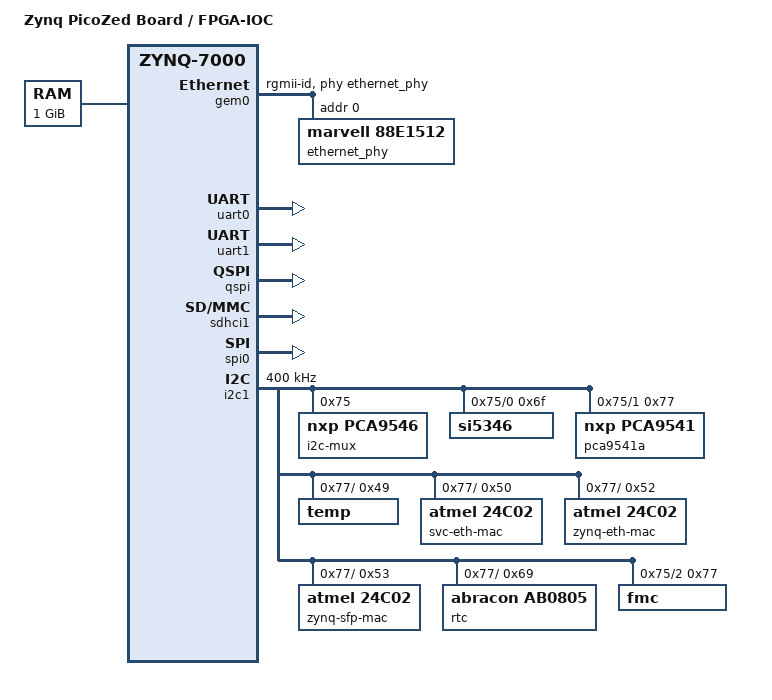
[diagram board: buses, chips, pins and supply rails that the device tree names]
/*
 * Avnet PicoZed board DTS
 * Modified for FPGA-IOC
 *
 * Copyright (C) 2015 Xilinx, Inc.
 *
 * SPDX-License-Identifier: GPL-2.0+
 */
/dts-v1/;
#include "zynq-7000.dtsi"

/ {
    model = "Zynq PicoZed Board / FPGA-IOC";
    compatible = "xlnx,zynq-picozed", "xlnx,zynq-7000";

    aliases {
        serial0 = &uart0;
        ethernet0 = &gem0;
        spi0 = &qspi;
        spi1 = &spi0;
        mmc0 = &sdhci1;
    };

    memory@0 {
        device_type = "memory";
        reg = <0 0x40000000>;
    };

    chosen {
        bootargs = "earlycon";
        stdout-path = "serial0:115200n8";
    };
};

&gem0 {
    status = "okay";
    phy-mode = "rgmii-id";
    phy-handle = <&ethernet_phy>;

    ethernet_phy: ethernet-phy@0 {
        compatible = "marvell,88e1512";
        device_type = "ethernet-phy";
        reg = <0>;
    };
};

&uart0 {
    u-boot,dm-pre-reloc;
    status = "okay";
};

&uart1 {
    u-boot,dm-pre-reloc;
    status = "okay";
};

&qspi {
    u-boot,dm-pre-reloc;
    status = "okay";
};

&sdhci0 {
    u-boot,dm-pre-reloc;
    status = "disabled";
};

&sdhci1 {
    u-boot,dm-pre-reloc;
    status = "okay";
};

&spi0 {
    status = "okay";
    spi-max-frequency = <5000000>; /* Max frequency (Hz) */
    spi-activate-delay = <1>; /* Time delay between activating chip-select and starting clock (uS) */
    spi-deactivate-delay = <1>; /* Time delay between stopping clock and de-activating chip-select (uS) */
};

&i2c1 {
    status = "okay";
    clock-frequency = <400000>;

    i2c-mux@75 {
        compatible = "nxp,pca9546";
        #address-cells = <1>;
        #size-cells = <0>;
        reg = <0x75>;

        i2c@0 {
            #address-cells = <1>;
            #size-cells = <0>;
            reg = <0>;
            si5346@6f {
                compatible = "linux,si5346";
                reg = <0x6f>;
            };
        };

        i2c@1 {
            #address-cells = <1>;
            #size-cells = <0>;
            reg = <1>;

            pca9541a@77 {
                compatible = "nxp,pca9541";
                reg = <0x77>;

                i2c-arb {
                    #address-cells = <1>;
                    #size-cells = <0>;

                    temp@49 {
                        reg = <0x49>;
                    };

                    svc-eth-mac@50 {
                        compatible = "atmel,24c02";
                        reg = <0x50>;
                    };

                    zynq-eth-mac@52 {
                        compatible = "atmel,24c02";
                        reg = <0x52>;
                    };

                    zynq-sfp-mac@53 {
                        compatible = "atmel,24c02";
                        reg = <0x53>;
                    };

                    rtc@69 {
                        compatible = "abracon,ab0805";
                        reg = <0x69>;
                        abracon,tc-diode = "standard";
                    };
                };
            };
        };

        i2c@2 {
            #address-cells = <1>;
            #size-cells = <0>;
            reg = <2>;
            fmc@77 {
                reg = <0x77>;
            };
        };
    };
};

